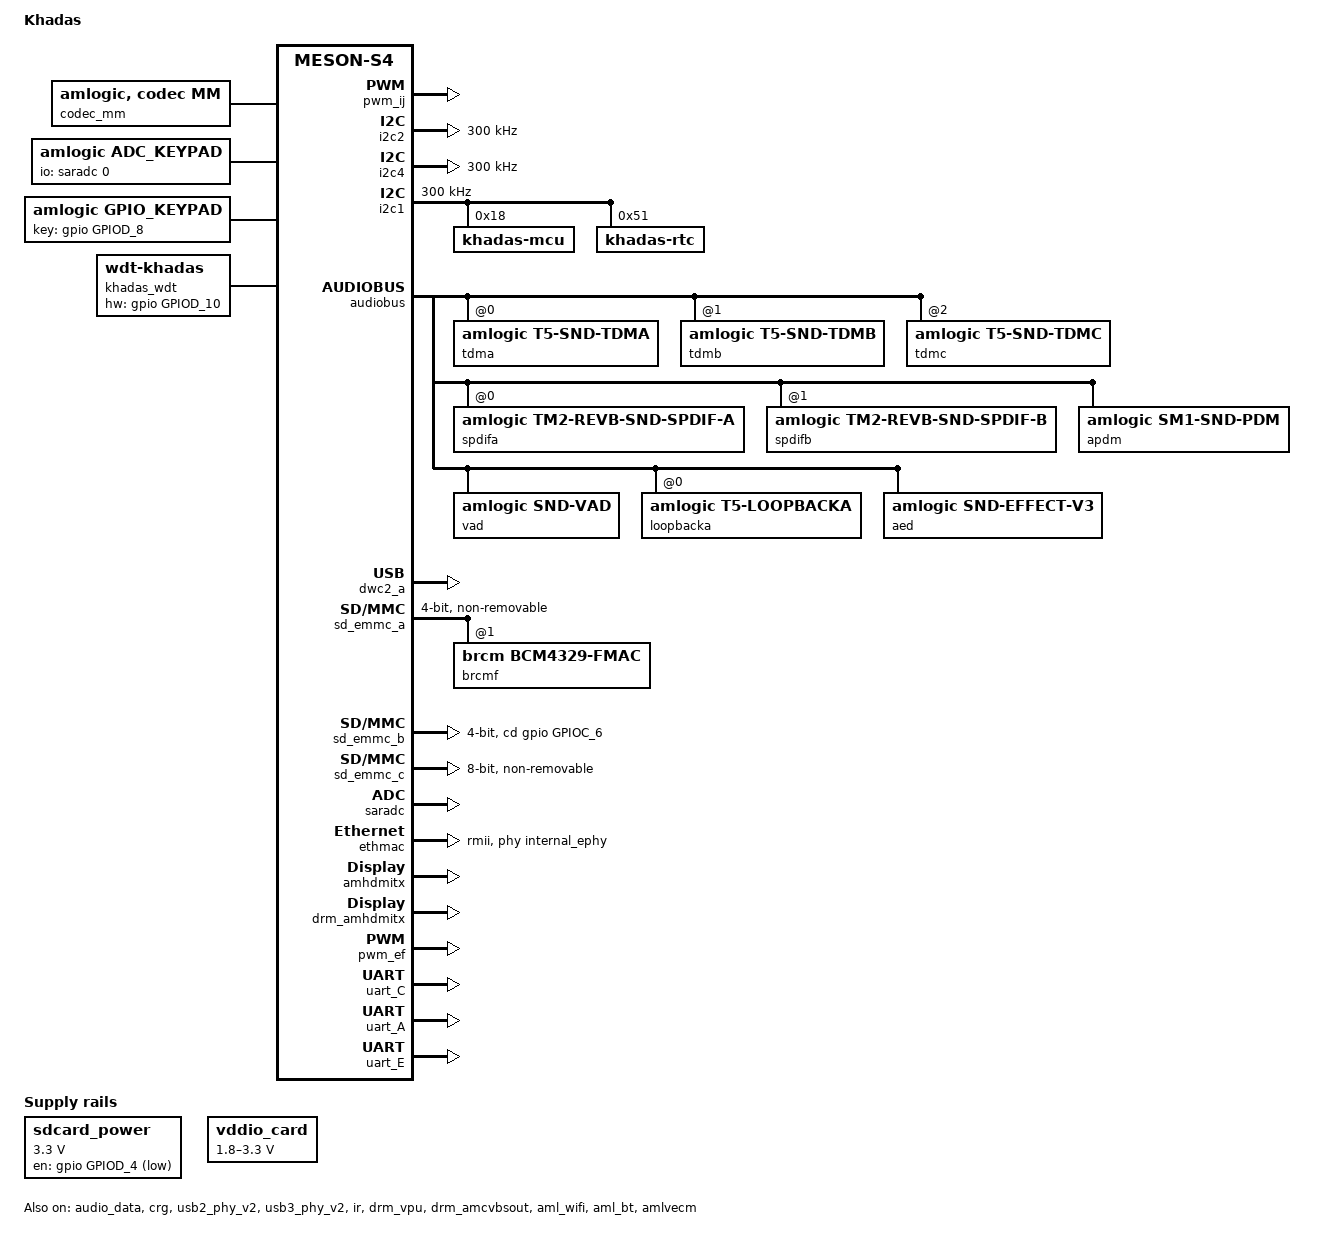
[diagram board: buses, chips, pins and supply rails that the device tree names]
// SPDX-License-Identifier: (GPL-2.0+ OR MIT)
/*
 * Copyright (c) 2019 Amlogic, Inc. All rights reserved.
 */

/dts-v1/;

#include "meson-s4.dtsi"
#include "hdr10plus.dtsi"
#include "mesons4_drm.dtsi"
#include "partition_mbox_ab.dtsi"
#include <dt-bindings/input/input.h>
#include "remote-khadas-12btns.dtsi"

/ {
	model = "Khadas";
	amlogic-dt-id = "kvim1s";
	compatible = "Khadas, kvim1s";
	interrupt-parent = <&gic>;
	#address-cells = <2>;
	#size-cells = <2>;

	aliases {
		serial0 = &uart_B;
		serial1 = &uart_A;
		serial2 = &uart_C;
		serial3 = &uart_D;
		serial4 = &uart_E;
		i2c0 = &i2c0;
		i2c1 = &i2c1;
		i2c2 = &i2c2;
		i2c3 = &i2c3;
		i2c4 = &i2c4;
		spi0 = &spifc;
		spi1 = &spicc0;
		tsensor0 = &p_tsensor;
		mmc0 = &sd_emmc_c;
		mmc1 = &sd_emmc_b;
		mmc2 = &sd_emmc_a;
	};

	memory@00000000 {
		device_type = "memory";
		linux,usable-memory = <0x0 0x0 0x0 0x80000000>;
	};

	reserved-memory {
		#address-cells = <2>;
		#size-cells = <2>;
		ranges;

		ramdump_bl33z@00000000 {
			reg = <0x0 0x0 0x0 0x1800000>;
			status = "disabled";
		};

		/* global autoconfigured region for contiguous allocations */
		ramoops@0x08400000 {
			compatible = "ramoops";
			reg = <0x0 0x08400000 0x0 0x00100000>;
			record-size = <0x20000>;
			console-size = <0x40000>;
			ftrace-size = <0x80000>;
			pmsg-size = <0x10000>;
			bconsole-size = <0x10000>;
		};

		dmc_reserved:linux,dmc_monitor {
			compatible = "amlogic,dmc_monitor-reserved";
			reg = <0x0 0x0 0x0 0x80000>;
		};

		debug_reserved:linux,iotrace {
			compatible = "amlogic, iotrace";
			reg = <0x0 0x04f00000 0x0 0x00100000>;
			io-size = <0x1b000>;
			sched-size = <0x2000>;
			irq-size = <0x1000>;
			smc-size = <0x1000>;
			misc-size = <0x1000>;
		};

		secmon_reserved:linux,secmon {
			compatible = "shared-dma-pool";
			no-map;
			alignment = <0x0 0x400000>;
			reg = <0x0 0x05000000 0x0 0x3400000>;
		};

		logo_reserved:linux,meson-fb {
			compatible = "amlogic, meson-fb";
			alignment = <0x0 0x400000>;
			reg = <0x0 0x7f800000 0x0 0x800000>;
		};

		ion_cma_reserved:linux,ion-dev {
			compatible = "shared-dma-pool";
			reusable;
			size = <0x0 0x0>;
			alignment = <0x0 0x400000>;
		};

		ion_fb_reserved:linux,ion-fb {
			compatible = "shared-dma-pool";
			reusable;
			size = <0x0 0x0>;
			alignment = <0x0 0x400000>;
		};
		dmaheap_fb_reserved:heap-fb {
			compatible = "shared-dma-pool";
			reusable;
			/* 1080p STB androidT size 56M */
			size = <0x0 0x3800000>;
			alignment = <0x0 0x400000>;
		};

		dmaheap_cma_reserved:heap-gfx {
			compatible = "shared-dma-pool";
			reusable;
			/* 1080p STB androidT size 88M */
			size = <0x0 0x5800000>;
			alignment = <0x0 0x400000>;
		};
		di_cma_reserved:linux,di_cma {
			compatible = "shared-dma-pool";
			reusable;
			alignment = <0x0 0x400000>;
		};

		ppmgr_reserved:linux,ppmgr {
			compatible = "shared-dma-pool";
			size = <0x0>;
		};

		codec_mm_cma:linux,codec_mm_cma {
			compatible = "shared-dma-pool";
			reusable;
			size = <0x0 0x16C00000>;
			alignment = <0x0 0x400000>;
			alloc-ranges = <0x0 0x30000000 0x0 0x50000000>;
			linux,contiguous-region;
		};

		codec_mm_reserved:linux,codec_mm_reserved {
			compatible = "amlogic, codec-mm-reserved";
			size = <0x0 0x0>;
			alignment = <0x0 0x100000>;
		};

		secure_vdec_reserved:linux,secure_vdec_reserved {
			compatible = "amlogic, secure-vdec-reserved";
			no-map;
			size = <0x0 0x1000000>;
			alignment = <0x0 0x100000>;
		};

		vdin1_cma_reserved:linux,vdin1_cma {
			compatible = "shared-dma-pool";
			reusable;
			size = <0x0 0x00800000>;
			alignment = <0x0 0x400000>;
		};

		linux,cma {
			compatible = "shared-dma-pool";
			reusable;
			size = <0x0 0x800000>;
			alignment = <0x0 0x400000>;
			linux,cma-default;
			alloc-ranges = <0x0 0x0 0x0 0x30000000>;
		};
	};
	sdcard_power: regulator-sdcard {
		compatible = "regulator-fixed";
		regulator-name = "SDCARD_POWER";
		regulator-min-microvolt = <3300000>;
		regulator-max-microvolt = <3300000>;
		gpio = <&gpio GPIOD_4 GPIO_ACTIVE_LOW>;
		enable-active-low;
		regulator-always-on;
	};

	vddio_card: gpio-regulator {
		compatible = "regulator-gpio";
		regulator-name = "VDDIO_CARD";
		regulator-min-microvolt = <1800000>;
		regulator-max-microvolt = <3300000>;
		gpios = <&gpio GPIOD_9 GPIO_ACTIVE_HIGH>;
		gpios-states = <1>;
		states = <1800000 1
			3300000 0>;
	};

	codec_mm {
		compatible = "amlogic, codec, mm";
		memory-region = <&codec_mm_cma &codec_mm_reserved &secure_vdec_reserved>;
		dev_name = "codec_mm";
		status = "okay";
	};
	amdolby_vision {
		compatible = "amlogic, dolby_vision_sc2";
		dev_name = "aml_amdolby_vision_driver";
		status = "disabled";
		tv_mode = <0>;
	};


	ionvideo {
		compatible = "amlogic, ionvideo";
		dev_name = "ionvideo";
		status = "okay";
	};

	amlvideo2_0 {
		compatible = "amlogic, amlvideo2";
		dev_name = "amlvideo2";
		status = "okay";
		amlvideo2_id = <0>;
		cma_mode = <1>;
		codec_mm_alloc = <1>;
	};

	amlvideo2_1 {
		compatible = "amlogic, amlvideo2";
		dev_name = "amlvideo2";
		status = "okay";
		amlvideo2_id = <1>;
		cma_mode = <1>;
		codec_mm_alloc = <1>;
	};

	ppmgr {
		compatible = "amlogic, ppmgr";
		memory-region = <&ppmgr_reserved>;
		dev_name = "ppmgr";
		status = "okay";
	};

	multi-di {
		compatible = "amlogic, dim-s4";
		status = "okay";
		flag_cma = <4>;
		interrupts = <0 203 1
				0 202 1>;
		interrupt-names = "pre_irq", "post_irq";
		clocks = <&clkc CLKID_VPU_CLKB>,
			<&clkc CLKID_VPU>;
		clock-names = "vpu_clkb",
			"vpu_mux";
		clock-range = <334 667>;
		buffer-size = <4074560>;
		post-wr-support = <1>;
		nr10bit-support = <1>;
		nrds-enable = <1>;
		pps-enable = <1>;
	};

	unifykey{
		compatible = "amlogic,unifykey";
		status = "ok";
		unifykey-num = <19>;
		unifykey-index-0 = <&keysn_0>;
		unifykey-index-1 = <&keysn_1>;
		unifykey-index-2 = <&keysn_2>;
		unifykey-index-3 = <&keysn_3>;
		unifykey-index-4 = <&keysn_4>;
		unifykey-index-5 = <&keysn_5>;
		unifykey-index-6 = <&keysn_6>;
		unifykey-index-7 = <&keysn_7>;
		unifykey-index-8 = <&keysn_8>;
		unifykey-index-9 = <&keysn_9>;
		unifykey-index-10= <&keysn_10>;
		unifykey-index-11= <&keysn_11>;
		unifykey-index-12= <&keysn_12>;
		unifykey-index-13= <&keysn_13>;
		unifykey-index-14= <&keysn_14>;
		unifykey-index-15= <&keysn_15>;
		unifykey-index-16= <&keysn_16>;
		unifykey-index-17= <&keysn_17>;
		unifykey-index-18= <&keysn_18>;

		keysn_0: key_0{
			key-name = "usid";
			key-device = "normal";
			key-permit = "read","write","del";
		};
		keysn_1:key_1{
			key-name = "mac";
			key-device = "normal";
			key-permit = "read","write","del";
		};
		keysn_2:key_2{
			key-name = "hdcp";
			key-device = "secure";
			key-type = "sha1";
			key-permit = "read","write","del";
		};
		keysn_3:key_3{
			key-name = "secure_boot_set";
			key-device = "efuse";
			key-permit = "write";
		};
		keysn_4:key_4{
			key-name = "mac_bt";
			key-device = "normal";
			key-permit = "read","write","del";
			key-type  = "mac";
		};
		keysn_5:key_5{
			key-name = "mac_wifi";
			key-device = "normal";
			key-permit = "read","write","del";
			key-type = "mac";
		};
		keysn_6:key_6{
			key-name = "hdcp2_tx";
			key-device = "normal";
			key-permit = "read","write","del";
		};
		keysn_7:key_7{
			key-name = "hdcp2_rx";
			key-device = "normal";
			key-permit = "read","write","del";
		};
		keysn_8:key_8{
			key-name = "widevinekeybox";
			key-device = "secure";
			key-permit = "read","write","del";
		};
		keysn_9:key_9{
			key-name = "deviceid";
			key-device = "normal";
			key-permit = "read","write","del";
		};
		keysn_10:key_10{
			key-name = "hdcp22_fw_private";
			key-device = "secure";
			key-permit = "read","write","del";
		};
		keysn_11:key_11{
			key-name = "PlayReadykeybox25";
			key-device = "secure";
			key-permit = "read","write","del";
		};
		keysn_12:key_12{
			key-name = "prpubkeybox";
			key-device = "secure";
			key-permit = "read","write","del";
		};
		keysn_13:key_13{
			key-name = "prprivkeybox";
			key-device = "secure";
			key-permit = "read","write","del";
		};
		keysn_14:key_14{
			key-name = "attestationkeybox";
			key-device = "secure";
			key-permit = "read","write","del";
		};
		keysn_15:key_15{
			key-name = "region_code";
			key-device = "normal";
			key-permit = "read","write","del";
		};
		keysn_16:key_16{
			key-name = "netflix_mgkid";
			key-device = "secure";
			key-permit = "read","write","del";
		};
		keysn_17:key_17{
			key-name = "attestationdevidbox";
			key-device = "secure";
			key-permit = "read","write","del";
		};
		keysn_18:key_18{
			key-name = "oemkey";
			key-device = "normal";
			key-permit = "read","write","del";
		};
	};

	efusekey:efusekey{
		keynum = <4>;
		key0 = <&key_0>;
		key1 = <&key_1>;
		key2 = <&key_2>;
		key3 = <&key_3>;
		key_0:key_0{
			keyname = "mac";
			offset = <0>;
			size = <6>;
		};
		key_1:key_1{
			keyname = "mac_bt";
			offset = <6>;
			size = <6>;
		};
		key_2:key_2{
			keyname = "mac_wifi";
			offset = <12>;
			size = <6>;
		};
		key_3:key_3{
			keyname = "usid";
			offset = <18>;
			size = <16>;
		};
	};
	/* Audio Related start */

	auge_sound {
		compatible = "amlogic, auge-sound-card";
		aml-audio-card,name = "AML-AUGESOUND";

		aml-audio-card,dai-link@0 {
			format = "dsp_a";
			mclk-fs = <64>;
			bitclock-master = <&tdma>;
			frame-master = <&tdma>;
			suffix-name = "alsaPORT-pcm";
			tdmacpu: cpu {
				sound-dai = <&tdma>;
				dai-tdm-slot-tx-mask = <1>;
				dai-tdm-slot-rx-mask = <1>;
				dai-tdm-slot-num = <2>;
				dai-tdm-slot-width = <16>;
				system-clock-frequency = <512000>;
			};
			tdmacodec: codec {
				sound-dai = <&dummy_codec>;
			};
		};

		aml-audio-card,dai-link@1 {
			format = "i2s";
			mclk-fs = <256>;
			continuous-clock;
			bitclock-master = <&tdmb>;
			frame-master = <&tdmb>;
			suffix-name = "alsaPORT-i2s";
			cpu {
				sound-dai = <&tdmb>;
				dai-tdm-slot-tx-mask = <1 1>;
				dai-tdm-slot-rx-mask = <1 1>;
				dai-tdm-slot-num = <2>;
				dai-tdm-slot-width = <32>;
				system-clock-frequency = <12288000>;
			};
			tdmbcodec: codec {
				sound-dai = <&amlogic_codec>;
			};
		};

		aml-audio-card,dai-link@2 {
			format = "i2s";
			mclk-fs = <256>;
			bitclock-master = <&tdmc>;
			frame-master = <&tdmc>;
			cpu {
				sound-dai = <&tdmc>;
				dai-tdm-slot-tx-mask = <1 1>;
				dai-tdm-slot-rx-mask = <1 1>;
				dai-tdm-slot-num = <2>;
				dai-tdm-slot-width = <32>;
				system-clock-frequency = <12288000>;
			};
			tdmccodec: codec {
				sound-dai = <&dummy_codec>;
			};
		};

		aml-audio-card,dai-link@3 {
			mclk-fs = <64>;
			suffix-name = "alsaPORT-pdm-builtinmic";
			cpu {
				sound-dai = <&apdm>;
			};
			codec {
				sound-dai = <&dummy_codec>;
			};
		};

		aml-audio-card,dai-link@4 {
			mclk-fs = <128>;
			suffix-name = "alsaPORT-spdif";
			cpu {
				sound-dai = <&spdifa>;
				system-clock-frequency = <6144000>;
			};
			codec {
				sound-dai = <&dummy_codec>;
			};
		};
		aml-audio-card,dai-link@5 {
			mclk-fs = <128>;
			continuous-clock;
			suffix-name = "alsaPORT-spdifb";
			cpu {
				sound-dai = <&spdifb>;
				system-clock-frequency = <6144000>;
			};
			codec {
				sound-dai = <&dummy_codec>;
			};
		};

		aml-audio-card,dai-link@6 {
			mclk-fs = <256>;
			continuous-clock;
			suffix-name = "alsaPORT-loopback";
			cpu {
				sound-dai = <&loopbacka>;
				system-clock-frequency = <12288000>;
			};
			codec {
				sound-dai = <&dummy_codec>;
			};
		};
	};

	picdec {
		compatible = "amlogic, picdec";
		status = "okay";
	};

	audiolocker: locker {
		compatible = "amlogic, audiolocker";
		clock-names = "lock_out", "lock_in", "out_src",
					"in_src", "out_calc", "in_ref";
		interrupts = <GIC_SPI 1 IRQ_TYPE_EDGE_RISING>;
		interrupt-names = "irq";
		frequency = <49000000>;
		dividor = <49>;
		status = "disabled";
	};

	adc_keypad {
		compatible = "amlogic, adc_keypad";
		status = "okay";
		key_name = "home";
		key_num = <1>;
		io-channels = <&saradc 0>;
		io-channel-names = "key-chan-0";
		key_chan = <0>;
		key_code = <102>;
		key_val = <108>;
		key_tolerance = <40>;
	};

	gpio_keypad{
		compatible = "amlogic, gpio_keypad";
		status = "okay";
		scan_period = <20>;
		key_num = <1>;
		key_name = "power";
		key_code = <KEY_POWER>;
		key_type = <EV_KEY>;
		key-gpios = <&gpio  GPIOD_8  GPIO_ACTIVE_HIGH>;
		detect_mode = <0>;
	};

	khadas-hwver {
		compatible = "khadas-hwver";
		status = "okay";
        };

	khadas_wdt {
		compatible = "linux,wdt-khadas";
		status = "okay";
		hw_margin_ms = <500>;
		hw-gpios = <&gpio  GPIOD_10  GPIO_ACTIVE_HIGH>;
	};
};

&pwm_ij {
	status = "okay";
};

&i2c2 {
	status = "okay";
	pinctrl-names="default";
	pinctrl-0=<&i2c2_pins2>;
	clock-frequency = <300000>;
};

&i2c4 {
	status = "okay";
	pinctrl-names="default";
	pinctrl-0=<&i2c4_pins3>;
	clock-frequency = <300000>;
};

&i2c1 {
	status = "okay";
	pinctrl-names="default";
	pinctrl-0=<&i2c1_pins2>;
	clock-frequency = <300000>;

	khadas-mcu@18 {
		status = "okay";
		compatible = "khadas-mcu";
		reg = <0x18>;
		fan,trig_temp_level0 = <50>;
		fan,trig_temp_level1 = <60>;
		fan,trig_temp_level2 = <70>;
		fan,trig_temp_level3 = <80>;
		hwver = "VIM1S.V10";
	};

	khadas-rtc@51 {
		compatible = "khadas-rtc";
		reg = <0x51>;
	};
};

&vddcpu0 {
	status = "okay";
};

&CPU0 {
	multi_tables_available;
	operating-points-v2 = <&s905y4_opp_table0>,
		<&s905y4_opp_table1>,
		<&s905y4_opp_table2>,
		<&s905y4_opp_table3>;
};

&CPU1 {
	multi_tables_available;
	operating-points-v2 = <&s905y4_opp_table0>,
		<&s905y4_opp_table1>,
		<&s905y4_opp_table2>,
		<&s905y4_opp_table3>;
};

&CPU2 {
	multi_tables_available;
	operating-points-v2 = <&s905y4_opp_table0>,
		<&s905y4_opp_table1>,
		<&s905y4_opp_table2>,
		<&s905y4_opp_table3>;
};

&CPU3 {
	multi_tables_available;
	operating-points-v2 = <&s905y4_opp_table0>,
		<&s905y4_opp_table1>,
		<&s905y4_opp_table2>,
		<&s905y4_opp_table3>;
};

&audiobus {
	tdma: tdm@0 {
		compatible = "amlogic, t5-snd-tdma";
		#sound-dai-cells = <0>;
		dai-tdm-lane-slot-mask-in = <1>;
		dai-tdm-lane-slot-mask-out = <0 1>;
		dai-tdm-clk-sel = <0>;
		clocks = <&clkaudio CLKID_AUDIO_MCLK_A
				&clkc CLKID_HIFI_PLL
				&clkc CLKID_MPLL0>;
		clock-names = "mclk", "clk_srcpll", "clk_src_cd";

		pinctrl-names = "tdm_pins";
		pinctrl-0 = <&tdm_a_pins
			&tdm_d0_pins
			&tdm_d1_pins
			&tdma_clk_pins>;
		src-clk-freq = <1179648000>;

		status = "okay";
	};

	tdmb: tdm@1 {
		compatible = "amlogic, t5-snd-tdmb";
		#sound-dai-cells = <0>;
		dai-tdm-lane-slot-mask-in = <1 0>;
		dai-tdm-lane-slot-mask-out = <1 1 1 1>;
		dai-tdm-clk-sel = <1>;
		clocks = <&clkaudio CLKID_AUDIO_MCLK_B
				&clkaudio CLKID_AUDIO_MCLK_PAD2
				&clkc CLKID_HIFI_PLL
				&clkc CLKID_MPLL1>;
		clock-names = "mclk", "mclk_pad", "clk_srcpll", "clk_src_cd";
		samesource_sel = <3>;

		pinctrl-names = "tdm_pins";
		pinctrl-0 = <&mclk_2_pins
			&tdm_b_pins
			&tdm_d4_pins
			&tdm_d5_pins
			&tdmb_clk_pins>;
		src-clk-freq = <1179648000>;

		start_clk_enable = <1>;

		clk_tuning_enable = <1>;

		status = "okay";

		Channel_Mask {
			Spdif_samesource_Channel_Mask = "i2s_0/1";
		};
	};

	tdmc: tdm@2 {
		compatible = "amlogic, t5-snd-tdmc";
		#sound-dai-cells = <0>;
		dai-tdm-lane-slot-mask-in = <1>;
		dai-tdm-lane-slot-mask-out = <1>;
		dai-tdm-clk-sel = <2>;
		clocks = <&clkaudio CLKID_AUDIO_MCLK_C
				&clkaudio CLKID_AUDIO_MCLK_PAD0
				&clkc CLKID_HIFI_PLL
				&clkc CLKID_MPLL2>;
		clock-names = "mclk", "mclk_pad", "clk_srcpll", "clk_src_cd";
		samesource_sel = <3>;

		start_clk_enable = <1>;

		clk_tuning_enable = <1>;
		src-clk-freq = <1179648000>;
		status = "okay";
	};

	spdifa: spdif@0 {
		compatible = "amlogic, tm2-revb-snd-spdif-a";
		#sound-dai-cells = <0>;
		clocks = <&clkc CLKID_HIFI_PLL
				&clkc CLKID_MPLL0
				&clkc CLKID_FCLK_DIV4
				&clkaudio CLKID_AUDIO_GATE_SPDIFIN
				&clkaudio CLKID_AUDIO_GATE_SPDIFOUT_A
				&clkaudio CLKID_AUDIO_SPDIFIN
				&clkaudio CLKID_AUDIO_SPDIFOUT_A>;
		clock-names = "sysclk", "clk_src_cd", "fixed_clk", "gate_spdifin",
				"gate_spdifout", "clk_spdifin", "clk_spdifout";
		interrupts = <GIC_SPI 35 IRQ_TYPE_EDGE_RISING>;
		interrupt-names = "irq_spdifin";
		pinctrl-names = "spdif_pins", "spdif_pins_mute";
		pinctrl-0 = <&spdifout>;
		pinctrl-1 = <&spdifout_a_mute>;
		clk_tuning_enable = <1>;
		src-clk-freq = <1179648000>;
		status = "okay";
	};
	spdifb: spdif@1 {
		compatible = "amlogic, tm2-revb-snd-spdif-b";
		#sound-dai-cells = <0>;
		clocks = <&clkc CLKID_HIFI_PLL
				&clkc CLKID_MPLL1
				&clkaudio CLKID_AUDIO_GATE_SPDIFOUT_B
				&clkaudio CLKID_AUDIO_SPDIFOUT_B>;
		clock-names = "sysclk", "clk_src_cd",
				"gate_spdifout", "clk_spdifout";
		src-clk-freq = <1179648000>;
		status = "okay";
	};
	apdm: pdm {
		compatible = "amlogic, sm1-snd-pdm";
		#sound-dai-cells = <0>;

		clocks = <&clkaudio CLKID_AUDIO_GATE_PDM
			&clkc CLKID_FCLK_DIV3
			&clkc CLKID_HIFI_PLL
			&clkaudio CLKID_AUDIO_PDMIN0
			&clkaudio CLKID_AUDIO_PDMIN1>;
		clock-names = "gate",
			"sysclk_srcpll",
			"dclk_srcpll",
			"pdm_dclk",
			"pdm_sysclk";

		src-clk-freq = <1179648000>;

		filter_mode = <1>;

		status = "okay";
	};

	asrca: resample@0 {
		compatible = "amlogic, t5-resample-a";
		clocks = <&clkc CLKID_MPLL3
				&clkaudio CLKID_AUDIO_MCLK_F
				&clkaudio CLKID_AUDIO_RESAMPLE_A>;
		clock-names = "resample_pll", "resample_src", "resample_clk";
		resample_module = <4>;
		src-clk-freq = <1179648000>;
		status = "disabled";
	};

	asrcb:resample@1 {
		compatible = "amlogic, t5-resample-b";
		clocks = <&clkc CLKID_MPLL3
			&clkaudio CLKID_AUDIO_MCLK_F
			&clkaudio CLKID_AUDIO_RESAMPLE_B>;
		clock-names = "resample_pll", "resample_src", "resample_clk";

		capture_sample_rate = <16000>;
		src-clk-freq = <1179648000>;

		status = "disabled";
	};

	vad:vad {
		compatible = "amlogic, snd-vad";
		#sound-dai-cells = <0>;

		clocks = <&clkaudio CLKID_AUDIO_GATE_TOVAD
			&clkc CLKID_FCLK_DIV5
			&clkaudio CLKID_AUDIO_VAD>;
		clock-names = "gate", "pll", "clk";

		interrupts = <GIC_SPI 39 IRQ_TYPE_EDGE_RISING
				GIC_SPI 44 IRQ_TYPE_EDGE_RISING>;
		interrupt-names = "irq_wakeup", "irq_frame_sync";

		src = <4>;

		level = <1>;

		status = "okay";
	};

	loopbacka:loopback@0 {
		compatible = "amlogic, t5-loopbacka";
		#sound-dai-cells = <0>;

		clocks = <&clkaudio CLKID_AUDIO_GATE_PDM
			&clkc CLKID_FCLK_DIV3
			&clkc CLKID_HIFI_PLL
			&clkaudio CLKID_AUDIO_PDMIN0
			&clkaudio CLKID_AUDIO_PDMIN1
			&clkc CLKID_HIFI_PLL
			&clkaudio CLKID_AUDIO_MCLK_A>;
		clock-names = "pdm_gate",
			"pdm_sysclk_srcpll",
			"pdm_dclk_srcpll",
			"pdm_dclk",
			"pdm_sysclk",
			"tdminlb_mpll",
			"tdminlb_mclk";

		datain_src = <4>;
		datain_chnum = <0>;
		datain_chmask = <0x0>;
		datain-lane-mask-in = <0 0 0 0>;

		mclk-fs = <256>;

		datalb_src = <2>;
		datalb_chnum = <2>;
		datalb_chmask = <0x3>;
		datalb-lane-mask-in = <1 0 0 0>;
		src-clk-freq = <1179648000>;

		status = "okay";
	};

	loopbackb:loopback@1 {
		compatible = "amlogic, t5-loopbackb";
		#sound-dai-cells = <0>;

		clocks = <&clkaudio CLKID_AUDIO_GATE_PDM
			&clkc CLKID_FCLK_DIV3
			&clkc CLKID_MPLL3
			&clkaudio CLKID_AUDIO_PDMIN0
			&clkaudio CLKID_AUDIO_PDMIN1
			&clkc CLKID_MPLL0
			&clkaudio CLKID_AUDIO_MCLK_A>;
		clock-names = "pdm_gate",
			"pdm_sysclk_srcpll",
			"pdm_dclk_srcpll",
			"pdm_dclk",
			"pdm_sysclk",
			"tdminlb_mpll",
			"tdminlb_mclk";

		mclk-fs = <256>;

		datain_src = <4>;
		datain_chnum = <4>;
		datain_chmask = <0xf>;
		datain-lane-mask-in = <1 0 1 0>;

		datalb_src = <1>;
		datalb_chnum = <2>;
		datalb_chmask = <0x3>;
		datalb-lane-mask-in = <1 0 0 0>;

		status = "disabled";
	};
	aed:effect {
		compatible = "amlogic, snd-effect-v3";
		#sound-dai-cells = <0>;
		clocks = <&clkaudio CLKID_AUDIO_GATE_EQDRC
			&clkc CLKID_FCLK_DIV5
			&clkaudio CLKID_AUDIO_EQDRC>;
		clock-names = "gate", "srcpll", "eqdrc";
		eqdrc_module = <2>;
		lane_mask = <0x1>;
		channel_mask = <0x3>;
		status = "okay";
	};
};

&pinctrl_audio {
	tdm_d0_pins: tdm_d0_pin {
		mux {
			groups = "tdm_d0";
			function = "tdmouta_lane1";
		};
	};

	tdm_d1_pins: tdm_d1_pin {
		mux {
			groups = "tdm_d1";
			function = "tdmina_lane0";
		};
	};
	tdma_clk_pins: tdma_clk_pin {
		mux {
			groups = "tdm_sclk0", "tdm_lrclk0";
			function = "tdm_clk_outa";
		};
	};

	tdm_d4_pins: tdm_d4_pin {
		mux {
			groups = "tdm_d4";
			function = "tdmoutb_lane0";
		};
	};

	tdm_d5_pins: tdm_d5_pin {
		mux {
			groups = "tdm_d5";
			function = "tdminb_lane0";
		};
	};

	tdmb_clk_pins: tdm_clk_pin {
		mux {
			groups = "tdm_sclk2", "tdm_lrclk2";
			function = "tdm_clk_outb";
		};
	};
};

&periphs_pinctrl {
	tdm_a_pins: tdm_a_pin {
		mux { /* GPIOX_11, GPIOX_10, GPIOX_8, GPIOX_9 */
			groups = "tdm_sclk0",
				"tdm_fs0",
				"tdm_d0",
				"tdm_d1";
			function = "tdm";
		};
	};

	tdm_b_pins: tdm_b_pin {
		mux { /* GPIOX_11, GPIOX_10, GPIOX_9, GPIOX_8 */
			groups = "tdm_sclk2",
				"tdm_fs2",
				"tdm_d4_z",
				"tdm_d5_z";
			function = "tdm";
		};
	};

	mclk_2_pins: mclk_2_pin {
		mux { /* GPIOZ_6 */
			groups = "mclk_2";
			function = "mclk";
		};
	};

	spdifout: spdifout {
		mux { /* GPIOZ_9 */
			groups = "spdif_out_z";
			function = "spdif_out";
		};
	};

	spdifout_a_mute: spdifout_a_mute {
		mux { /* GPIOZ_9 */
			groups = "GPIOZ_9";
			function = "gpio_periphs";
			output-low;
		};
	};

};

&audio_data {
	status = "okay";
};

&dwc2_a {
	status = "okay";
	/** 0: normal, 1: otg+dwc3 host only, 2: otg+dwc3 device only*/
	controller-type = <2>;
};

&crg {
	status = "okay";
};

&usb2_phy_v2 {
	status = "okay";
	portnum = <2>;
};

&usb3_phy_v2 {
	status = "okay";
	portnum = <0>;
	otg = <1>;
};

&pcie {
	reset-gpio = <&gpio GPIOX_7 GPIO_ACTIVE_HIGH>;
	status = "disable";
};

/* SDIO */
&sd_emmc_a {
	status = "okay";
	pinctrl-0 = <&sdio_pins>;
	pinctrl-1 = <&sdio_clk_gate_pins>;
	pinctrl-names = "default", "clk-gate";
	#address-cells = <1>;
	#size-cells = <0>;

	bus-width = <4>;
	cap-sd-highspeed;
	sd-uhs-sdr50;
	sd-uhs-sdr104;
	max-frequency = <200000000>;

	non-removable;
	disable-wp;

	brcmf: wifi@1 {
		reg = <1>;
		compatible = "brcm,bcm4329-fmac";
	};
};

/* SD card */
&sd_emmc_b {
	status = "okay";
	pinctrl-0 = <&sdcard_pins>;
	pinctrl-1 = <&sdcard_clk_gate_pins>;
	pinctrl-2 = <&sd_1bit_pins>;
	pinctrl-3 = <&sd_to_ao_uart_clr_pins
		&sdcard_pins &ao_to_sd_uart_pins>;
	pinctrl-4 = <&sd_to_ao_uart_clr_pins
		&sd_1bit_pins &ao_to_sd_uart_pins>;
	pinctrl-5 = <&sdcard_pins &ao_uart_pins>;
	pinctrl-6 = <&sd_to_ao_uart_clr_pins
		&ao_to_sd_uart_pins>;
	pinctrl-7 = <&sdcard_pins &ao_uart_pins>;
	pinctrl-8 = <&sd_to_ao_uart_clr_pins
		&ao_to_sd_uart_pins>;
	pinctrl-names = "sd_default",
			"clk-gate",
			"sd_1bit_pins",
			"sd_clk_cmd_uart_pins",
			"sd_1bit_uart_pins",
			"sd_to_ao_uart_pins",
			"ao_to_sd_uart_pins",
			"sd_to_ao_jtag_pins",
			"ao_to_sd_jtag_pins";
	bus-width = <4>;
	cap-sd-highspeed;
	sd-uhs-sdr12;
	sd-uhs-sdr25;
	sd-uhs-sdr50;
	sd-uhs-sdr104;
	max-frequency = <200000000>;
	disable-wp;

	cd-gpios = <&gpio GPIOC_6 GPIO_ACTIVE_HIGH>;
	dat1-gpios = <&gpio GPIOC_1 GPIO_ACTIVE_HIGH>;
	vqmmc-supply = <&vddio_card>;
};

&sd_emmc_c {
	status = "okay";
	pinctrl-0 = <&emmc_pins>, <&emmc_ds_pins>;
	pinctrl-1 = <&emmc_clk_gate_pins>;
	pinctrl-names = "default", "clk-gate";

	bus-width = <8>;
	cap-mmc-highspeed;
	mmc-ddr-1_8v;
	mmc-hs200-1_8v;
	max-frequency = <200000000>;
	non-removable;
	disable-wp;

};

&saradc {
	status = "okay";
};

&ethmac {
	status = "okay";
	phy-handle = <&internal_ephy>;
	phy-mode = "rmii";
	keep-alive = <1>;
	mac_wol = <1>;
	mdns_wkup = <1>;
};

&ir {
	status = "okay";
	pinctrl-0 = <&remote_pins>;
	pinctrl-names = "default";
};

&spicc0 {
	status = "disabled";
	pinctrl-names = "default";
	pinctrl-0 = <&spicc0_pins_x>;
	cs-gpios = <&gpio GPIOX_10 0>;
};

&spifc {
	status = "disabled";
	spi-nor@0 {
		status = "disabled";
	};
};

&fb {
	status = "disabled";
	display_size_default = <1920 1080 1920 2160 32>;
	mem_size = <0x00800000 0x1980000 0x100000>;
	logo_addr = "0x7f800000";
	mem_alloc = <0>;
	pxp_mode = <0>;
};

&drm_vpu {
	status = "okay";
	logo_addr = "0x7f800000";

};

&amhdmitx {
	status = "okay";
};

&drm_amhdmitx {
	status = "okay";
	hdcp = "disabled";
};

&drm_amcvbsout {
	status = "okay";
};

&drm_lcd {
	status = "disabled";
};

&vpu {
	clk_level = <8>;
};

&vdin0 {
	cma_size = <20>;
	tv_bit_mode = <0x1>;
};

&vdin1 {
	memory-region = <&vdin1_cma_reserved>;
	tv_bit_mode = <1>;
};

&aml_wifi{
	status = "okay";
	interrupt-gpios = <&gpio  GPIOX_7  GPIO_ACTIVE_HIGH>;
	power_on-gpios = <&gpio   GPIOX_6  GPIO_ACTIVE_HIGH>;
};

&aml_bt {
	status = "okay";
	reset-gpios = <&gpio    GPIOX_17 GPIO_ACTIVE_HIGH>;
	btwakeup-gpios = <&gpio    GPIOX_18 GPIO_ACTIVE_HIGH>;
	hostwake-gpios = <&gpio GPIOX_19 GPIO_ACTIVE_HIGH>;
};

&pwm_ef {
	status = "okay";
};

&state_led {
        status = "okay";
};

&uart_C {
	status = "okay";
	uart-has-rtscts;
};

&uart_A {
	status = "okay";
	uart-has-rtscts;
};

&uart_E {
	status = "okay";
	uart-has-rtscts;
};

&gpu {
	tbl =  <&dvfs285_cfg
		&dvfs400_cfg
		&dvfs500_cfg
		&dvfs666_cfg
		&dvfs850_cfg
		&dvfs850_cfg>;
};

&amlvecm {
	compatible = "amlogic, vecm";
	dev_name = "aml_vecm";
	status = "okay";
	gamma_en = <0>;
	wb_en = <0>;
	cm_en = <0>;
	tx_op_color_primary = <0>;
};
